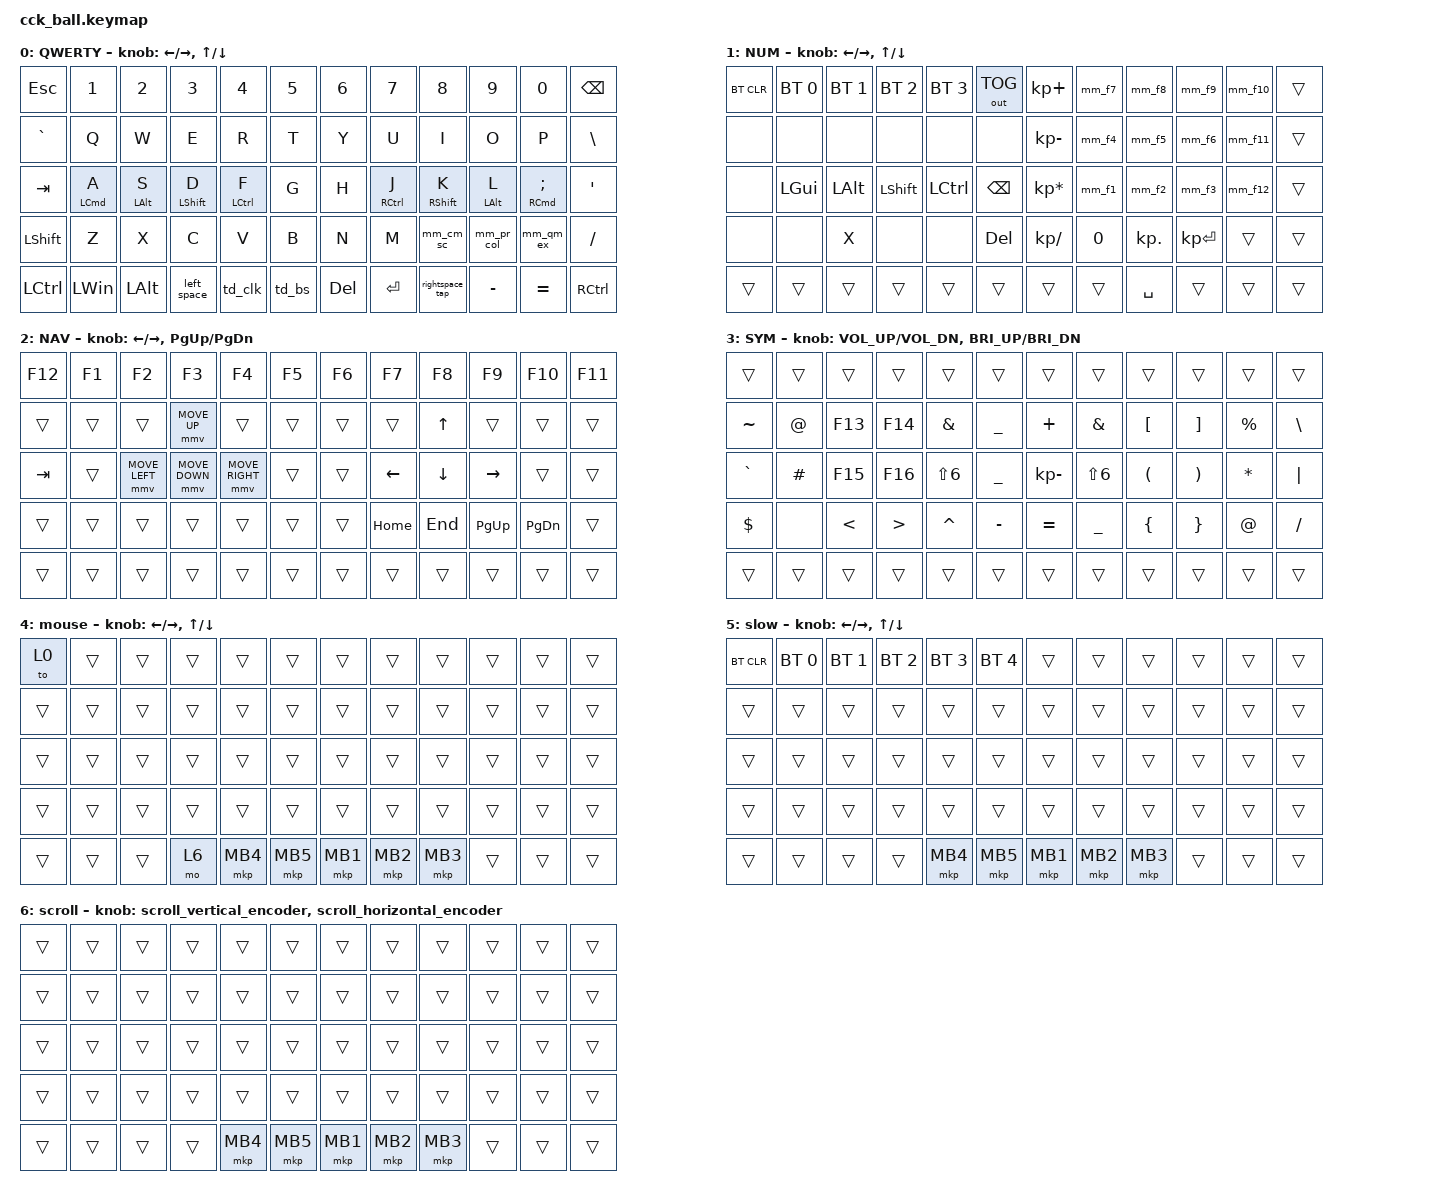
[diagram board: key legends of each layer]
#define ZMK_POINTING_DEFAULT_MOVE_VAL 1000 // 600
#define ZMK_POINTING_DEFAULT_SCRL_VAL 12   // 10
#define KEYS_L 0 1 2 3 4 5 12 13 14 15 16 17 24 25 26 27 28 29 36 37 38 19 20 21 22  // Left-hand keys.
#define KEYS_R 6 7 8 9 10 11 18 19 20 21 22 23 30 31 32 33 34 35 39 40 16 15 14 13  // Right-hand keys.
#define THUMBS 36 37 38 39 40  // Thumb keys.

#include <input/processors.dtsi>
#include <zephyr/dt-bindings/input/input-event-codes.h>
#include <behaviors.dtsi>
#include <dt-bindings/zmk/bt.h>
#include <dt-bindings/zmk/keys.h>
#include <dt-bindings/zmk/outputs.h>
#include <dt-bindings/zmk/pointing.h>

&mmv_input_listener { input-processors = <&zip_xy_scaler 2 1>; };

&msc_input_listener { input-processors = <&zip_scroll_scaler 2 1>; };

&msc {
    acceleration-exponent = <0>;      // 0
    time-to-max-speed-ms = <300>;       // 300
    delay-ms = <0>;                   // 0
};

&mmv {
    time-to-max-speed-ms = <500>;
    acceleration-exponent = <1>;
    trigger-period-ms = <16>;
};

&soft_off { hold-time-ms = <2000>; };

/ {
    // 上下滚动编码器行为

    scroll_vertical_encoder: scroll_vertical_encoder {
        compatible = "zmk,behavior-sensor-rotate";
        #sensor-binding-cells = <0>;
        bindings = <&msc SCRL_DOWN>, <&msc SCRL_UP>;

        tap-ms = <100>;
    };

    // 左右滚动编码器行为

    scroll_horizontal_encoder: scroll_horizontal_encoder {
        compatible = "zmk,behavior-sensor-rotate";
        #sensor-binding-cells = <0>;
        bindings = <&msc SCRL_LEFT>, <&msc SCRL_RIGHT>;

        tap-ms = <100>;
    };

    //

    behaviors {
        // ht_num_func: homerow_mod {
        //     compatible = "zmk,behavior-hold-tap";
        //     #binding-cells = <2>;
        //     flavor = "tap-preferred";
        //     tapping-term-ms = <260>; // triggers the hold behavior when the tapping-term-ms has expired
        //     quick-tap-ms = <220>; // If you press a tapped hold-tap again within quick-tap-ms milliseconds of the first press, it will always trigger the tap behavior.
        //     require-prior-idle-ms = <185>; // like quick-tap-ms however it will apply for any non-modifier key pressed before it
        //     bindings = <&kp>, <&kp>;  // hold, tap
        // };

        mm_f1: num_or_f1 {
            compatible = "zmk,behavior-mod-morph";
            #binding-cells = <0>;
            bindings = <&kp N1>, <&kp F1>;

            mods = <MOD_LSFT>;
        };

        mm_f2: num_or_f2 {
            compatible = "zmk,behavior-mod-morph";
            #binding-cells = <0>;
            bindings = <&kp N2>, <&kp F2>;

            mods = <MOD_LSFT>;
        };

        mm_f3: num_or_f3 {
            compatible = "zmk,behavior-mod-morph";
            #binding-cells = <0>;
            bindings = <&kp N3>, <&kp F3>;

            mods = <MOD_LSFT>;
        };

        mm_f4: num_or_f4 {
            compatible = "zmk,behavior-mod-morph";
            #binding-cells = <0>;
            bindings = <&kp N4>, <&kp F4>;

            mods = <MOD_LSFT>;
        };

        mm_f5: num_or_f5 {
            compatible = "zmk,behavior-mod-morph";
            #binding-cells = <0>;
            bindings = <&kp N5>, <&kp F5>;

            mods = <MOD_LSFT>;
        };

        mm_f6: num_or_f6 {
            compatible = "zmk,behavior-mod-morph";
            #binding-cells = <0>;
            bindings = <&kp N6>, <&kp F6>;

            mods = <MOD_LSFT>;
        };

        mm_f7: num_or_f7 {
            compatible = "zmk,behavior-mod-morph";
            #binding-cells = <0>;
            bindings = <&kp N7>, <&kp F7>;

            mods = <MOD_LSFT>;
        };

        mm_f8: num_or_f8 {
            compatible = "zmk,behavior-mod-morph";
            #binding-cells = <0>;
            bindings = <&kp N8>, <&kp F8>;

            mods = <MOD_LSFT>;
        };

        mm_f9: num_or_f9 {
            compatible = "zmk,behavior-mod-morph";
            #binding-cells = <0>;
            bindings = <&kp N9>, <&kp F9>;

            mods = <MOD_LSFT>;
        };

        mm_f10: pct_or_f10 {
            compatible = "zmk,behavior-mod-morph";
            #binding-cells = <0>;
            bindings = <&kp PRCNT>, <&kp F10>;

            mods = <MOD_LSFT>;
        };

        mm_f11: asterisk_or_f11 {
            compatible = "zmk,behavior-mod-morph";
            #binding-cells = <0>;
            bindings = <&kp ASTRK>, <&kp F11>;

            mods = <MOD_LSFT>;
        };

        mm_f12: dot_or_f12 {
            compatible = "zmk,behavior-mod-morph";
            #binding-cells = <0>;
            bindings = <&kp DOT>, <&kp F12>;

            mods = <MOD_LSFT>;
        };

        // Left-hand HRM

        ht_left: left_side_homerow_mod {
            compatible = "zmk,behavior-hold-tap";
            #binding-cells = <2>;
            flavor = "balanced";
            tapping-term-ms = <280>;
            quick-tap-ms = <160>;
            require-prior-idle-ms = <65>;
            retro-tap;
            bindings = <&kp>, <&kp>;

            hold-trigger-key-positions = <KEYS_R THUMBS>;
        };

        // Right-hand HRM

        ht_right: right_side_homerow_mod {
            compatible = "zmk,behavior-hold-tap";
            #binding-cells = <2>;
            flavor = "balanced";
            tapping-term-ms = <280>;
            quick-tap-ms = <160>;
            require-prior-idle-ms = <55>;
            retro-tap;
            bindings = <&kp>, <&kp>;

            hold-trigger-key-positions = <KEYS_L THUMBS>;
        };

        //      td_spc_scrl_slow: td_spc_scrl_slow {
        //        compatible = "zmk,behavior-tap-dance";
        //        #binding-cells = <0>;
        //        tapping-term-ms = <150>;
        //        bindings = <&lt 6 SPACE>, <&mo 5>;
        //        // hold, tap, double_tap
        //    };
        //     lt_nav: nav_layer_tap {
        //         compatible = "zmk,behavior-hold-tap";
        //        #binding-cells = <2>;
        //        flavor = "tap-preferred";
        //        tapping-term-ms = <170>;
        //        bindings = <&mo>, <&kp>;
        //    };
        //
        //    td_space_nav_mouse: td_space {
        //        compatible = "zmk,behavior-tap-dance";
        //        #binding-cells = <0>;
        //        tapping-term-ms = <110>;
        //        bindings = <&lt_nav 2 SPACE>, <&to 4>;
        //        // hold, tap, double_tap
        //    };

        mo_clk: mo_click {
            compatible = "zmk,behavior-hold-tap";
            #binding-cells = <2>;
            flavor = "hold-preferred";
            tapping-term-ms = <40>;
            hold-while-undecided;
            bindings = <&mo>, <&mkp>;
        };

        td_clk: td_clk {
            compatible = "zmk,behavior-tap-dance";
            #binding-cells = <0>;
            tapping-term-ms = <170>;
            bindings = <&mo_clk 3 LCLK>, <&mkp LCLK>;

            // hold, tap, double_tap
        };

        mo_kp: mo_kp {
            compatible = "zmk,behavior-hold-tap";
            #binding-cells = <2>;
            flavor = "hold-preferred";
            tapping-term-ms = <40>;
            hold-while-undecided;
            bindings = <&mo>, <&kp>;
        };

        td_bs: td_bs {
            compatible = "zmk,behavior-tap-dance";
            #binding-cells = <0>;
            tapping-term-ms = <170>;
            bindings = <&mo_kp 1 BACKSPACE>, <&kp BACKSPACE>;

            // hold, tap, double_tap
        };

        httl: ht_two_layers {
            compatible = "zmk,behavior-hold-tap";
            bindings = <&mo>, <&to>;

            #binding-cells = <2>;
            flavor = "balanced";
            tapping-term-ms = <125>;
        };

        td_layers: td_layer_swap {
            compatible = "zmk,behavior-tap-dance";
            #binding-cells = <0>;
            bindings = <&to 0>, <&to 6>;

            // tap, double_tap
        };

        td_clk_scrl: td_click_or_scroll {
            compatible = "zmk,behavior-tap-dance";
            #binding-cells = <0>;
            tapping-term-ms = <250>;
            bindings = <&mkp RCLK>, <&mo 6>;

            // tap/hold, double_tap
        };

        td_bore: BASE_or_EXTRA {
            compatible = "zmk,behavior-tap-dance";
            #binding-cells = <0>;
            bindings = <&mo 5>, <&to 0>;
        };

        mm_qm_ex: question_exclamation {
            compatible = "zmk,behavior-mod-morph";
            #binding-cells = <0>;
            bindings = <&kp QUESTION>, <&kp EXCLAMATION>;

            mods = <(MOD_LSFT | MOD_RSFT)>;
        };

        mm_pr_col: period_colon {
            compatible = "zmk,behavior-mod-morph";
            #binding-cells = <0>;
            bindings = <&kp PERIOD>, <&kp COLON>;

            mods = <(MOD_LSFT | MOD_RSFT)>;
        };

        mm_cm_sc: comma_semi_colon {
            compatible = "zmk,behavior-mod-morph";
            #binding-cells = <0>;
            bindings = <&kp COMMA>, <&kp SEMICOLON>;

            mods = <(MOD_LSFT | MOD_RSFT)>;
        };

        rightspace_tap: rightspace_tap {
            compatible = "zmk,behavior-tap-dance";
            label = "RIGHTSPACE_TAP";
            #binding-cells = <0>;
            bindings = <&lt 2 SPACE>, <&to 4>;

            tapping-term-ms = <180>;
        };

        left_space: left_space {
            compatible = "zmk,behavior-tap-dance";
            label = "LEFT_SPACE";
            #binding-cells = <0>;
            bindings = <&lt 6 SPACE>, <&mo 5>;

            tapping-term-ms = <180>;
        };
    };

    combos {
        compatible = "zmk,combos";

        combo_leftclick {
            bindings = <&mkp MB1>;
            key-positions = <25 26>;
        };

        combo_midclick {
            bindings = <&mkp MB3>;
            key-positions = <26 27>;
        };

        combo_rightclick {
            bindings = <&mkp MB2>;
            key-positions = <27 28>;
        };

        to0 {
            bindings = <&to 0>;
            key-positions = <51 56>;
        };

        tomouse {
            bindings = <&to 4>;
            key-positions = <52 55>;
        };

        toscroll {
            bindings = <&to 6>;
            key-positions = <53 54>;
        };
    };

    keymap {
        compatible = "zmk,keymap";

        QWERTY {
            bindings = <
&kp ESC           &kp N1           &kp N2           &kp N3            &kp N4                   &kp N5  &kp N6   &kp N7             &kp N8             &kp N9            &kp N0                    &kp BACKSPACE
&kp GRAVE         &kp Q            &kp W            &kp E             &kp R                    &kp T   &kp Y    &kp U              &kp I              &kp O             &kp P                     &kp BSLH
&kp TAB           &ht_left LCMD A  &ht_left LALT S  &ht_left LSHFT D  &ht_left LEFT_CONTROL F  &kp G   &kp H    &ht_right RCTRL J  &ht_right RSHFT K  &ht_right LALT L  &ht_right RCMD SEMICOLON  &kp SQT
&kp LEFT_SHIFT    &kp Z            &kp X            &kp C             &kp V                    &kp B   &kp N    &kp M              &mm_cm_sc          &mm_pr_col        &mm_qm_ex                 &kp FSLH
&kp LEFT_CONTROL  &kp LEFT_WIN     &kp LEFT_ALT     &left_space       &td_clk                  &td_bs  &kp DEL  &kp ENTER          &rightspace_tap    &kp MINUS         &kp EQUAL                 &kp RCTRL
            >;

            sensor-bindings =
                <&inc_dec_kp LEFT_ARROW RIGHT_ARROW>,
                <&inc_dec_kp UP_ARROW DOWN_ARROW>;
        };

        NUM {
            bindings = <
&bt BT_CLR  &bt BT_SEL 0  &bt BT_SEL 1  &bt BT_SEL 2  &bt BT_SEL 3  &out OUT_TOG   &kp KP_PLUS      &mm_f7  &mm_f8      &mm_f9        &mm_f10  &trans
&none       &none         &none         &none         &none         &none          &kp KP_MINUS     &mm_f4  &mm_f5      &mm_f6        &mm_f11  &trans
&none       &kp LGUI      &kp LEFT_ALT  &kp LSHIFT    &kp LCTRL     &kp BACKSPACE  &kp KP_MULTIPLY  &mm_f1  &mm_f2      &mm_f3        &mm_f12  &trans
&none       &none         &kp X         &none         &none         &kp DEL        &kp KP_SLASH     &kp N0  &kp KP_DOT  &kp KP_ENTER  &trans   &trans
&trans      &trans        &trans        &trans        &trans        &trans         &trans           &trans  &kp SPACE   &trans        &trans   &trans
            >;

            sensor-bindings =
                <&inc_dec_kp LEFT RIGHT>,
                <&inc_dec_kp UP_ARROW DOWN_ARROW>;
        };

        NAV {
            bindings = <
&kp F12  &kp F1  &kp F2          &kp F3          &kp F4           &kp F5  &kp F6  &kp F7          &kp F8    &kp F9           &kp F10    &kp F11
&trans   &trans  &trans          &mmv MOVE_UP    &trans           &trans  &trans  &trans          &kp UP    &trans           &trans     &trans
&kp TAB  &trans  &mmv MOVE_LEFT  &mmv MOVE_DOWN  &mmv MOVE_RIGHT  &trans  &trans  &kp LEFT_ARROW  &kp DOWN  &kp RIGHT_ARROW  &trans     &trans
&trans   &trans  &trans          &trans          &trans           &trans  &trans  &kp HOME        &kp END   &kp PG_UP        &kp PG_DN  &trans
&trans   &trans  &trans          &trans          &trans           &trans  &trans  &trans          &trans    &trans           &trans     &trans
            >;

            sensor-bindings =
                <&inc_dec_kp LEFT_ARROW RIGHT_ARROW>,
                <&inc_dec_kp PG_UP PG_DN>;
        };

        SYM {
            bindings = <
&trans     &trans    &trans   &trans   &trans      &trans     &trans        &trans      &trans    &trans    &trans     &trans
&kp TILDE  &kp AT    &kp F13  &kp F14  &kp AMPS    &kp UNDER  &kp PLUS      &kp AMPS    &kp LBKT  &kp RBKT  &kp PRCNT  &kp BSLH
&kp GRAVE  &kp HASH  &kp F15  &kp F16  &kp LS(N6)  &kp UNDER  &kp KP_MINUS  &kp LS(N6)  &kp LPAR  &kp RPAR  &kp ASTRK  &kp PIPE
&kp DLLR   &none     &kp LT   &kp GT   &kp CARET   &kp MINUS  &kp EQUAL     &kp UNDER   &kp LBRC  &kp RBRC  &kp AT     &kp FSLH
&trans     &trans    &trans   &trans   &trans      &trans     &trans        &trans      &trans    &trans    &trans     &trans
            >;

            sensor-bindings =
                <&inc_dec_kp C_VOL_UP C_VOL_DN>,
                <&inc_dec_kp C_BRI_UP C_BRI_DN>;
        };

        mouse {
            bindings = <
&to 0   &trans  &trans  &trans  &trans    &trans    &trans    &trans    &trans    &trans  &trans  &trans
&trans  &trans  &trans  &trans  &trans    &trans    &trans    &trans    &trans    &trans  &trans  &trans
&trans  &trans  &trans  &trans  &trans    &trans    &trans    &trans    &trans    &trans  &trans  &trans
&trans  &trans  &trans  &trans  &trans    &trans    &trans    &trans    &trans    &trans  &trans  &trans
&trans  &trans  &trans  &mo 6   &mkp MB4  &mkp MB5  &mkp MB1  &mkp MB2  &mkp MB3  &trans  &trans  &trans
            >;

            sensor-bindings =
                <&inc_dec_kp LEFT RIGHT>,
                <&inc_dec_kp UP_ARROW DOWN_ARROW>;
        };

        slow {
            bindings = <
&bt BT_CLR  &bt BT_SEL 0  &bt BT_SEL 1  &bt BT_SEL 2  &bt BT_SEL 3  &bt BT_SEL 4  &trans    &trans    &trans    &trans  &trans  &trans
&trans      &trans        &trans        &trans        &trans        &trans        &trans    &trans    &trans    &trans  &trans  &trans
&trans      &trans        &trans        &trans        &trans        &trans        &trans    &trans    &trans    &trans  &trans  &trans
&trans      &trans        &trans        &trans        &trans        &trans        &trans    &trans    &trans    &trans  &trans  &trans
&trans      &trans        &trans        &trans        &mkp MB4      &mkp MB5      &mkp MB1  &mkp MB2  &mkp MB3  &trans  &trans  &trans
            >;

            sensor-bindings =
                <&inc_dec_kp LEFT RIGHT>,
                <&inc_dec_kp UP_ARROW DOWN_ARROW>;
        };

        scroll {
            bindings = <
&trans  &trans  &trans  &trans  &trans    &trans    &trans    &trans    &trans    &trans  &trans  &trans
&trans  &trans  &trans  &trans  &trans    &trans    &trans    &trans    &trans    &trans  &trans  &trans
&trans  &trans  &trans  &trans  &trans    &trans    &trans    &trans    &trans    &trans  &trans  &trans
&trans  &trans  &trans  &trans  &trans    &trans    &trans    &trans    &trans    &trans  &trans  &trans
&trans  &trans  &trans  &trans  &mkp MB4  &mkp MB5  &mkp MB1  &mkp MB2  &mkp MB3  &trans  &trans  &trans
            >;

            sensor-bindings =
                <&scroll_vertical_encoder>,
                // 编码器1：上下滚动,,,,,,,,,,,,,,,,,
                <&scroll_horizontal_encoder>;

            // 编码器2：左右滚动
        };
    };
};
